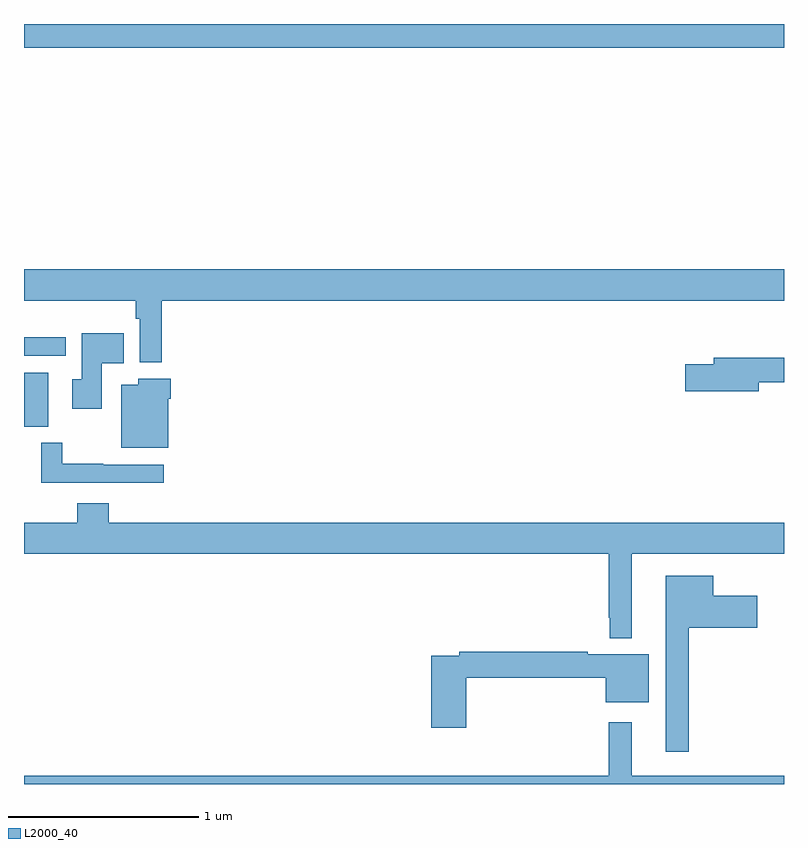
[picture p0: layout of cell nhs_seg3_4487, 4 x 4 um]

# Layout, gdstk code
import gdstk
lib = gdstk.Library(unit=1e-6, precision=1e-09)
def R(c, l, rs):  # rectangles x0, y0, x1, y1
    for r in rs: c.add(gdstk.rectangle(r[:2], r[2:], *l))
def P(c, l, *ps):  # polygons
    for p in ps: c.add(gdstk.Polygon(p, *l))
L2000_40 = (2000, 40)

nhs_seg3_4487 = lib.new_cell('nhs_seg3_4487')
R(nhs_seg3_4487, L2000_40, [(351,672.281,351.127,672.565), (351,672.654,351.22,672.752), (351,674.276,355,674.4)])
P(nhs_seg3_4487, L2000_40, [(351.725,672.944),(355,672.944),(355,673.108),(351,673.108),(351,672.944),(351.589,672.944),(351.589,672.848),(351.609,672.848),(351.609,672.621),(351.725,672.621)],
  [(351.409,672.614),(351.524,672.614),(351.524,672.772),(351.305,672.772),(351.305,672.531),(351.255,672.531),(351.255,672.375),(351.409,672.375)],
  [(354.868,672.514),(355,672.514),(355,672.643),(354.629,672.643),(354.629,672.609),(354.48,672.609),(354.48,672.467),(354.868,672.467)],
  [(351.76,672.428),(351.773,672.428),(351.773,672.532),(351.602,672.532),(351.602,672.502),(351.512,672.502),(351.512,672.17),(351.76,672.17)],
  [(351.736,672.081),(351.416,672.081),(351.416,672.086),(351.202,672.086),(351.202,672.196),(351.092,672.196),(351.092,671.985),(351.736,671.985)],
  [(354.199,671.612),(355,671.612),(355,671.776),(351.446,671.776),(351.446,671.878),(351.281,671.878),(351.281,671.776),(351,671.776),(351,671.612),(354.078,671.612),(354.078,671.275),(354.084,671.275),(354.084,671.168),(354.199,671.168)],
  [(354.499,671.222),(354.859,671.222),(354.859,671.392),(354.628,671.392),(354.628,671.497),(354.377,671.497),(354.377,670.569),(354.499,670.569)],
  [(353.327,670.96),(354.062,670.96),(354.062,670.829),(354.289,670.829),(354.289,671.083),(353.966,671.083),(353.966,671.096),(353.29,671.096),(353.29,671.076),(353.144,671.076),(353.144,670.695),(353.327,670.695)],
  [(355,670.444),(354.199,670.444),(354.199,670.726),(354.078,670.726),(354.078,670.444),(351,670.444),(351,670.4),(355,670.4)])

lib.write_gds('nhs_seg3_4487.gds')
